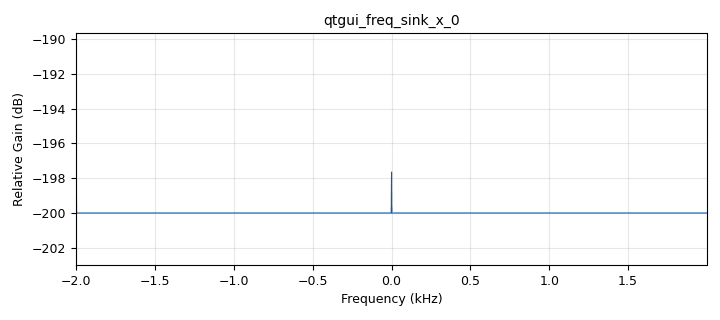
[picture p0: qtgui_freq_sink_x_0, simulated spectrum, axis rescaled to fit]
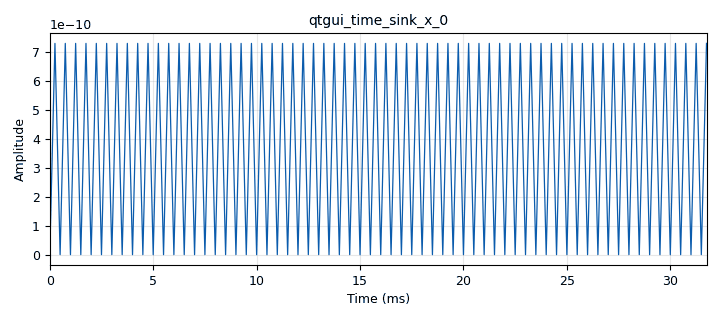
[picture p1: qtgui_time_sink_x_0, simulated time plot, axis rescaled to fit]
options:
  parameters:
    author: 'Barry Duggan '
    copyright: '2020'
    description: Sample Rate Demo
    generate_options: qt_gui
    id: lab1_1
    output_language: python
    title: Sample Rate Demo
  states: {}

blocks:
- name: freq
  id: variable_qtgui_range
  parameters:
    label: 'Frecuency '
    start: '1000'
    step: '1000'
    stop: '40000'
    value: '2000'
  states: {}
- name: samp_rate
  id: variable_qtgui_range
  parameters:
    start: '1000'
    step: '1000'
    stop: '400000'
    value: '4000'
  states: {}
- name: analog_sig_source_x_0
  id: analog_sig_source_x
  parameters:
    amp: '1'
    freq: freq
    offset: '0'
    phase: '0'
    samp_rate: samp_rate
    type: float
    waveform: analog.GR_SIN_WAVE
  states: {}
- name: blocks_throttle_0
  id: blocks_throttle
  parameters:
    samples_per_second: samp_rate
    type: float
  states: {}
- name: qtgui_freq_sink_x_0
  id: qtgui_freq_sink_x
  parameters:
    bw: samp_rate
    fc: '0'
    fftsize: '2048'
    type: float
  states: {}
- name: qtgui_time_sink_x_0
  id: qtgui_time_sink_x
  parameters:
    size: '128'
    srate: samp_rate
    type: float
  states: {}

connections:
- [analog_sig_source_x_0, '0', blocks_throttle_0, '0']
- [blocks_throttle_0, '0', qtgui_freq_sink_x_0, '0']
- [blocks_throttle_0, '0', qtgui_time_sink_x_0, '0']

metadata:
  file_format: 1
